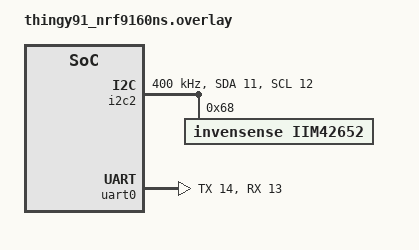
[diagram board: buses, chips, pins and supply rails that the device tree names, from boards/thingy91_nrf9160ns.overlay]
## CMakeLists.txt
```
# SPDX-License-Identifier: Apache-2.0

# Add the driver directory as a zephyr module by hand. If your driver is a
# project that's managed by west, you can remove this line.
#list(APPEND ZEPHYR_EXTRA_MODULES
#	$ENV{BASE_DIR}/drivers_and_libraries/sensors/iim42652
#)

cmake_minimum_required(VERSION 3.20.0)

# required for apps
find_package(Zephyr REQUIRED HINTS $ENV{ZEPHYR_BASE})

project(application-6dof)

target_sources(app PRIVATE
	src/main.c
)
```

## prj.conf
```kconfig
# general
CONFIG_STDOUT_CONSOLE=y
CONFIG_PRINTK=y

# bus
CONFIG_I2C=y

# sensors
CONFIG_SENSOR=y
CONFIG_SENSOR_LOG_LEVEL_DBG=y
CONFIG_IIM42652=y

#debug
#CONFIG_DEBUG=y
CONFIG_LOG=y
#CONFIG_LOG_MODE_IMMEDIATE=y

CONFIG_CBPRINTF_FP_SUPPORT=y

#CONFIG_USE_SEGGER_RTT=y
#CONFIG_LOG_BACKEND_RTT=y
#CONFIG_LOG_BACKEND_UART=n
```

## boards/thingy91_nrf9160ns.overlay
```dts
&i2c2 {
	compatible = "nordic,nrf-twim";
	status = "okay";
	sda-pin = <11>;
	scl-pin = <12>;

	// TODO: Switch to I2C_BITRATE_FAST so we get 400 kHz instead of 100 kHz
	// communication? Look at documentation and power usage...
	clock-frequency = <I2C_BITRATE_FAST>;

	iim42652@68 {
		compatible = "invensense,iim42652";
		status = "okay";
		label = "IIM42652";
		reg = <0x68>;

		accel-hz = <1000>;

		// GPIO pin for the interrupt
		//interrupt1-gpios = <&gpio0 8 (GPIO_ACTIVE_HIGH)>;
		//interrupt2-gpios = <&gpio0 9 (GPIO_ACTIVE_HIGH)>;
	};
};

&uart0 {
	tx-pin = <14>;
	rx-pin = <13>;
};
```

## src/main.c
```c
/*
 * Copyright (c) 2022 Anything Connected
 *
 * SPDX-License-Identifier: Apache-2.0
 */

#include <stdio.h>

#include <zephyr.h>
#include <logging/log.h>

#include <drivers/gpio.h>
#include <drivers/sensor.h>

#include "ixm42xxx.h"

LOG_MODULE_REGISTER(application_test, LOG_LEVEL_DBG);

/* 1000 msec = 1 sec */
#define SLEEP_TIME_MS   100

// The devicetree node identifier for the "led1" alias (green led)
#define LEDG_NODE DT_ALIAS(led1)

/*
 * A build error on this line means your board is unsupported.
 * See the sample documentation for information on how to fix this.
 */
static const struct gpio_dt_spec led = GPIO_DT_SPEC_GET(LEDG_NODE, gpios);

// from Kev code
// static K_SEM_DEFINE(sensor_data_ready, 0, 1);

void main(void)
{
	int ret;

	if (!device_is_ready(led.port))
		return;

	ret = gpio_pin_configure_dt(&led, GPIO_OUTPUT_ACTIVE);
	if (ret < 0)
		return;

	const struct device *iim42652 = device_get_binding("IIM42652");
	// poteto-potato - another way to get a hold on the sensor
	//const char *const label = DT_LABEL(DT_INST(0, invensense_iim42652));
	//const struct device *iim42652 = device_get_binding(label);

	if (!iim42652) {
		LOG_ERR("Failed to get device binding for IIM42652");
		return;
	}

	struct sensor_value temp, accel[3], gyro[3];
	float q[4] = {1.0f, 0.0, 0.0, 0.0};

	while(1) {
		//ret = gpio_pin_toggle_dt(&led);
		if( gpio_pin_toggle(led.port, led.pin) <0 )
			return;

		ret = sensor_sample_fetch(iim42652);
		ret = sensor_channel_get(iim42652, SENSOR_CHAN_DIE_TEMP, &temp);
		ret = sensor_channel_get(iim42652, SENSOR_CHAN_ACCEL_XYZ, accel);
		ret = sensor_channel_get(iim42652, SENSOR_CHAN_GYRO_XYZ, gyro);

		//ixm42xxx_quaternions(&accel, &gyro, &q, SLEEP_TIME_MS/1000);

		printk("%f, %f, %f, %f, %f, %f\n",
			//sensor_value_to_double(&temp),
			sensor_value_to_double(&accel[0]),
			sensor_value_to_double(&accel[1]),
			sensor_value_to_double(&accel[2]),
			sensor_value_to_double(&gyro[0]),
			sensor_value_to_double(&gyro[1]),
			sensor_value_to_double(&gyro[2])
		);

		k_msleep(SLEEP_TIME_MS);
	}
}
```
